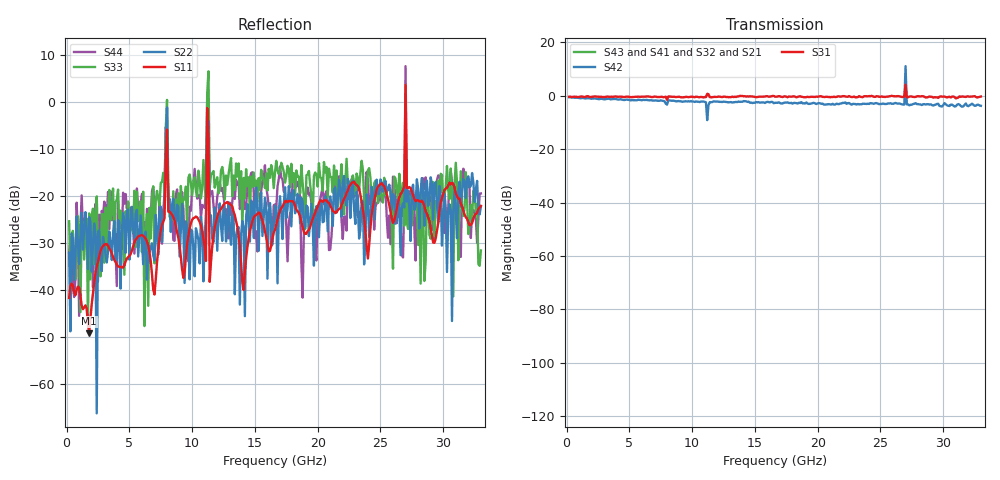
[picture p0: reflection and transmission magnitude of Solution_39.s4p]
# GHZ S RI R 50
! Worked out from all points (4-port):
!   329 points, 200 MHz to 33 GHz, reference 50 ohm
!   strongest paths, dB at 200 MHz, 8.4 GHz, 16.6 GHz, 24.8 GHz, 33 GHz:
!     S31: -0.4, -0.3, -0.3, -0.2, -0.3
!     S42: -0.5, -1.8, -2.6, -2.9, -3.7
!     S43: -, -, -, -, -
!     S41: -, -, -, -, -
!     S32: -, -, -, -, -
!     S21: -, -, -, -, -
!   lowest |S11| = -49.3 dB at 1.8 GHz (marker M1), VSWR 1.01, Z = 49.7 + j0.229 ohm
!   |S11| at or under -10 dB: start of sweep to 7.933 GHz; 11.31 GHz to 26.94 GHz (15.63 GHz wide, 81.7 % of centre); 27.06 GHz to end of sweep (the widest 3 of 4)
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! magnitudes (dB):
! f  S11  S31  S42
! 200 MHz  -41.8  -0.4  -0.5
! 1.8 GHz  -49.3  -0.3  -0.9
! 2.4 GHz  -35.1  -0.3  -1.1
! 6.2 GHz  -28.8  -0.3  -1.5
! 8 GHz  -5.9  -1.5  -3.3
! 14.2 GHz  -36.3  -0.1  -2.0
! 33 GHz  -22.2  -0.3  -3.7
